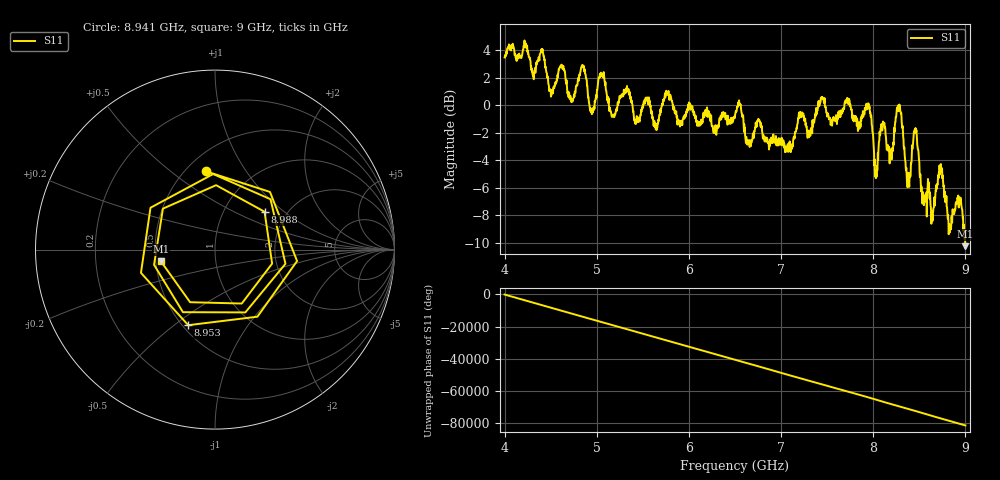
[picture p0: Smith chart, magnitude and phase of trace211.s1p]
! Created with skrf 1.8.0 (http://scikit-rf.org).
# Hz S RI R 50.0
!freq ReS11 ImS11
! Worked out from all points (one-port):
!   1601 points, 4 GHz to 9 GHz, reference 50 ohm
!   lowest |S11| = -10.2 dB at 9 GHz (marker M1), VSWR 1.89, Z = 26.7 - j3.9 ohm
!   |S11| at or under -10 dB: 8.998475 GHz to end of sweep
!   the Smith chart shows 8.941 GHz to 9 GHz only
!   S11 on the Smith chart (normalised r, x): 8.941 GHz: 0.62, +0.67; 8.953 GHz: 0.53, -0.56; 8.988 GHz: 1.55, +0.74; 9 GHz: 0.53, -0.08
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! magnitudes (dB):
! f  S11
! 4 GHz  3.5
! 4.406 GHz  4.0
! 4.506 GHz  0.7
! 4.625 GHz  2.9
! 4.731 GHz  0.4
! 4.853 GHz  2.8
! 4.95 GHz  -0.6
! 5.05 GHz  2.2
! 5.162 GHz  -0.8
! 5.25 GHz  0.6
! 5.875 GHz  -1.4
! 6.5 GHz  -0.7
! 7.125 GHz  -2.8
! 7.438 GHz  0.5
! 7.75 GHz  0.1
! 7.95 GHz  0.1
! 8.031 GHz  -4.9
! 8.281 GHz  -0.4
! 8.375 GHz  -5.2
! 8.456 GHz  -2.0
! 8.556 GHz  -7.0
! 8.647 GHz  -7.7
! 8.728 GHz  -4.5
! 8.831 GHz  -8.8
! 8.941 GHz  -7.1
! 8.953 GHz  -7.0
! 8.988 GHz  -9.2
! 9 GHz  -10.2
